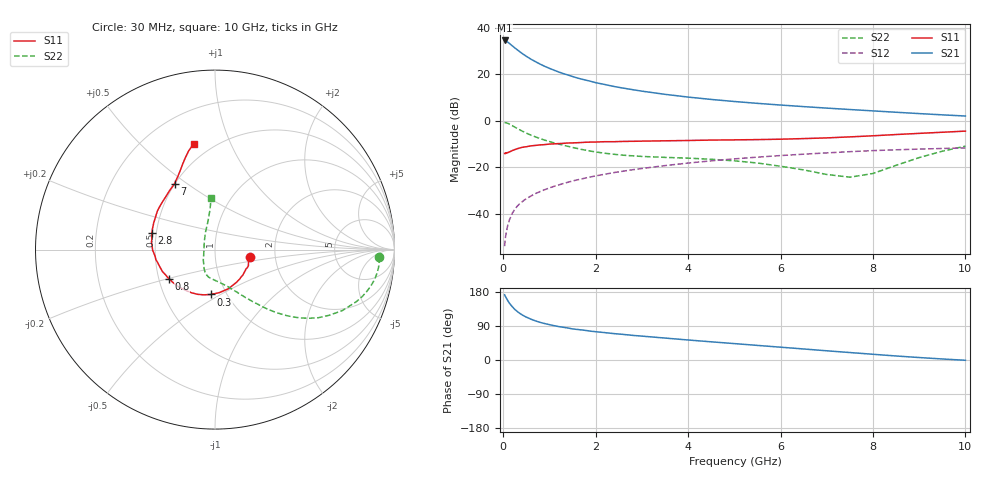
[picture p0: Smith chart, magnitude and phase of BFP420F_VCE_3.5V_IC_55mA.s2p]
! Infineon Technologies  Discrete & RF Semiconductors
! BFP420F
! VCE =  3.5 V,  IC =  55 mA
! Common Emitter S-Parameters:  Sep 2011
# GHz  S  MA  R  50
!  f  S11  S21  S12  S22
! GHz  MAG  ANG  MAG  ANG  MAG  ANG  MAG  ANG
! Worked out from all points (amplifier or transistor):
!   54 points, 30 MHz to 10 GHz, reference 50 ohm
!   highest |S21| = 34.7 dB at 30 MHz (marker M1)
!   |S21| within 3 dB of that: start of sweep to 237.9 MHz
!   unconditionally stable (mu >= 1): 1.244 GHz to end of sweep
!   at 120 MHz: K = 0.45, MSG = 38.6 dB, |S12| = -43.6 dB
!   at 1.3 GHz: K = 1.01, MAG = 23.0 dB, |S12| = -27.0 dB
!   at 10 GHz: K = 1.21, MAG = 4.1 dB, |S12| = -11.6 dB
!   S11 on the Smith chart (normalised r, x): 30 MHz: 1.48, -0.13; 300 MHz: 0.85, -0.45; 800 MHz: 0.56, -0.20; 2.8 GHz: 0.47, +0.10; 7 GHz: 0.50, +0.45; 10 GHz: 0.40, +0.74
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0.03  0.1993 -12.4  54.14 172.0  0.002 89.3  0.9147 -2.7
0.06  0.2066 -25.9  52.58 165.0  0.0036 81.0  0.913 -8.0
0.1  0.208 -39.9  49.75 156.3  0.0057 82.6  0.8854 -14.1
0.12  0.2109 -46.3  47.99 152.4  0.0066 80.4  0.8673 -16.8
0.15  0.2181 -56.7  45.27 147.3  0.008 78.9  0.8373 -20.4
0.2  0.2306 -71.1  41.23 140.1  0.0104 76.8  0.7864 -25.6
0.25  0.2408 -84.1  37.45 133.7  0.0124 74.6  0.7353 -29.8
0.3  0.2509 -94.9  34.36 128.4  0.0144 73.2  0.6908 -33.3
0.4  0.2676 -111.6  28.85 119.7  0.0178 71.5  0.6105 -38.6
0.5  0.2777 -123.7  24.67 113.1  0.0211 70.5  0.5455 -42.5
0.6  0.2898 -133.8  21.36 107.7  0.0241 69.9  0.4926 -45.6
0.8  0.3043 -147.7  16.72 99.2  0.0301 69.6  0.4155 -50.2
1  0.3169 -157.0  13.58 93.3  0.036 69.5  0.359 -54.0
1.2  0.3244 -164.7  11.31 88.2  0.0418 69.2  0.3165 -57.6
1.7  0.3428 -177.5  7.938 79.3  0.0564 67.9  0.2425 -66.1
2.2  0.3565 173.5  6.082 72.2  0.0711 66.0  0.201 -75.8
2.8  0.3635 164.9  4.71 65.0  0.0887 63.1  0.1767 -86.3
3.5  0.3726 156.5  3.738 57.9  0.1089 59.4  0.1637 -96.7
5.5  0.3956 137.7  2.389 38.5  0.1657 46.7  0.1238 -119.3
7  0.4306 121.6  1.887 24.3  0.2046 36.6  0.0701 -154.1
8.5  0.5087 110.8  1.536 10.6  0.2386 25.6  0.1104 118.6
10  0.6027 101.3  1.275 -0.7  0.2623 16.1  0.2863 94.3
